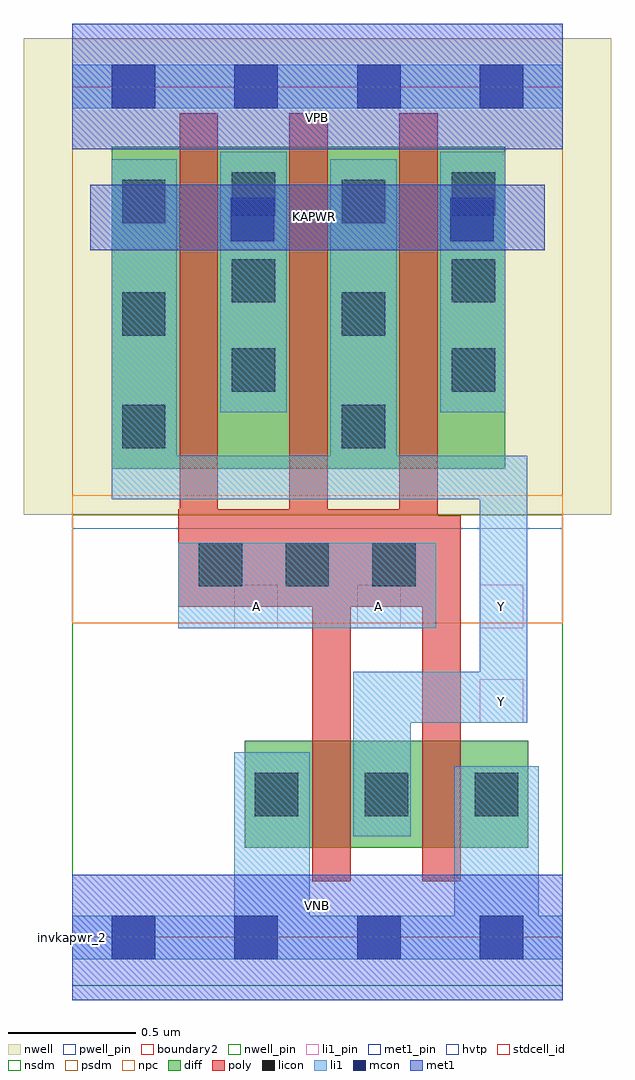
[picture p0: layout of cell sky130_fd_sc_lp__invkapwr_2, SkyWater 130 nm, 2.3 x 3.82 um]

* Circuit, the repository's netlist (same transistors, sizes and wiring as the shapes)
* Copyright 2020 The SkyWater PDK Authors
*
* Licensed under the Apache License, Version 2.0 (the "License");
* you may not use this file except in compliance with the License.
* You may obtain a copy of the License at
*
*     https://www.apache.org/licenses/LICENSE-2.0
*
* Unless required by applicable law or agreed to in writing, software
* distributed under the License is distributed on an "AS IS" BASIS,
* WITHOUT WARRANTIES OR CONDITIONS OF ANY KIND, either express or implied.
* See the License for the specific language governing permissions and
* limitations under the License.
*
* SPDX-License-Identifier: Apache-2.0

.SUBCKT sky130_fd_sc_lp__invkapwr_2 A KAPWR VGND VNB VPB VPWR Y
*.PININFO A:I KAPWR:I VGND:I VNB:I VPB:I VPWR:I Y:O
MMIP0 Y A KAPWR VPB sky130_fd_pr__pfet_01v8_hvt m=3 w=1.26U l=0.15U mult=1 sa=0.265
+ sb=0.265 sd=0.28 area=0.063 perim=1.14
MMIN0 Y A VGND VNB sky130_fd_pr__nfet_01v8 m=2 w=0.42U l=0.15U mult=1 sa=0.265
+ sb=0.265 sd=0.28 area=0.063 perim=1.14
.ENDS sky130_fd_sc_lp__invkapwr_2

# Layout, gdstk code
import gdstk
lib = gdstk.Library(unit=1e-6, precision=1e-09)
def R(c, l, rs):  # rectangles x0, y0, x1, y1
    for r in rs: c.add(gdstk.rectangle(r[:2], r[2:], *l))
def A(c, l, x, y, w, h, nx, ny, dx, dy):  # array of equal rectangles
    R(c, l, [(x+i*dx, y+j*dy, x+i*dx+w, y+j*dy+h) for i in range(nx) for j in range(ny)])
def P(c, l, *ps):  # polygons
    for p in ps: c.add(gdstk.Polygon(p, *l))
nwell_pin = (64, 16)
nwell = (64, 20)
diff = (65, 20)
poly = (66, 20)
licon = (66, 44)
li1_pin = (67, 16)
li1 = (67, 20)
mcon = (67, 44)
met1_pin = (68, 16)
met1 = (68, 20)
hvtp = (78, 44)
stdcell_id = (81, 4)
nsdm = (93, 44)
psdm = (94, 20)
npc = (95, 20)
pwell_pin = (122, 16)
boundary2 = (236, 0)

sky130_fd_sc_lp__invkapw = lib.new_cell('sky130_fd_sc_lp__invkapwr_2')
R(sky130_fd_sc_lp__invkapw, nwell_pin, [(0,3.085,1.92,3.33)])
R(sky130_fd_sc_lp__invkapw, nwell, [(-0.19,1.655,2.11,3.52)])
R(sky130_fd_sc_lp__invkapw, diff, [(0.675,0.35,1.785,0.77), (0.155,1.835,1.695,3.095)])
P(sky130_fd_sc_lp__invkapw, poly, [(1.52,1.65),(1.43,1.65),(1.43,3.225),(1.28,3.225),(1.28,1.675),(1,1.675),(1,3.225),(0.85,3.225),(0.85,1.675),(0.57,1.675),(0.57,3.225),(0.42,3.225),(0.42,1.675),(0.415,1.675),(0.415,1.295),(0.94,1.295),(0.94,0.22),(1.09,0.22),(1.09,1.295),(1.37,1.295),(1.37,0.22),(1.52,0.22)])
A(sky130_fd_sc_lp__invkapw, licon, 0.715, 0.475, 0.17, 0.17, 3, 1, 0.43, 0)
A(sky130_fd_sc_lp__invkapw, licon, 0.495, 1.375, 0.17, 0.17, 3, 1, 0.34, 0)
A(sky130_fd_sc_lp__invkapw, licon, 0.195, 1.915, 0.17, 0.17, 1, 3, 0, 0.44)
A(sky130_fd_sc_lp__invkapw, licon, 1.055, 1.915, 0.17, 0.17, 1, 3, 0, 0.44)
R(sky130_fd_sc_lp__invkapw, licon, [(0.625,2.135,0.795,2.305), (1.485,2.135,1.655,2.305), (0.625,2.485,0.795,2.655), (1.485,2.485,1.655,2.655), (0.625,2.825,0.795,2.995), (1.485,2.825,1.655,2.995)])
A(sky130_fd_sc_lp__invkapw, li1_pin, 0.635, 1.21, 0.17, 0.17, 3, 1, 0.48, 0)
R(sky130_fd_sc_lp__invkapw, li1_pin, [(1.595,0.84,1.765,1.01)])
R(sky130_fd_sc_lp__invkapw, li1, [(0.415,1.21,1.425,1.545), (0.58,2.055,0.84,3.075), (1.44,2.055,1.695,3.075), (0,3.245,1.92,3.415)])
P(sky130_fd_sc_lp__invkapw, li1, [(1.78,1.885),(1.27,1.885),(1.27,3.045),(1.01,3.045),(1.01,1.885),(0.41,1.885),(0.41,3.045),(0.155,3.045),(0.155,1.715),(1.595,1.715),(1.595,1.04),(1.1,1.04),(1.1,0.395),(1.325,0.395),(1.325,0.84),(1.78,0.84)],
  [(1.92,0.085),(1.825,0.085),(1.825,0.67),(1.495,0.67),(1.495,0.085),(0.93,0.085),(0.93,0.725),(0.635,0.725),(0.635,0.085),(0,0.085),(0,-0.085),(1.92,-0.085)])
A(sky130_fd_sc_lp__invkapw, mcon, 0.155, -0.085, 0.17, 0.17, 4, 2, 0.48, 3.33)
R(sky130_fd_sc_lp__invkapw, mcon, [(0.62,2.725,0.79,2.895), (1.48,2.725,1.65,2.895)])
R(sky130_fd_sc_lp__invkapw, met1_pin, [(0,0,1.92,0.245), (0.07,2.69,1.85,2.945), (0,3.085,1.92,3.33)])
R(sky130_fd_sc_lp__invkapw, met1, [(0,-0.245,1.92,0.245), (0.07,2.69,1.85,2.945), (0,3.085,1.92,3.575)])
R(sky130_fd_sc_lp__invkapw, hvtp, [(0,1.6,1.92,3.33)])
R(sky130_fd_sc_lp__invkapw, stdcell_id, [(0,0,1.92,3.33)])
R(sky130_fd_sc_lp__invkapw, nsdm, [(0,-0.19,1.92,1.655)])
R(sky130_fd_sc_lp__invkapw, psdm, [(0,1.655,1.92,3.52)])
R(sky130_fd_sc_lp__invkapw, npc, [(0,1.23,1.92,1.73)])
R(sky130_fd_sc_lp__invkapw, pwell_pin, [(0,0,1.92,0.245)])
R(sky130_fd_sc_lp__invkapw, boundary2, [(0,0,1.92,3.33)])
sky130_fd_sc_lp__invkapw.add(gdstk.Label('VNB', (0.96,0.123), layer=64, texttype=59))
sky130_fd_sc_lp__invkapw.add(gdstk.Label('VPB', (0.96,3.208), layer=64, texttype=5))
sky130_fd_sc_lp__invkapw.add(gdstk.Label('invkapwr_2', (0,0), layer=83, texttype=44))
sky130_fd_sc_lp__invkapw.add(gdstk.Label('VPWR', (0.96,3.208), layer=68, texttype=5))
sky130_fd_sc_lp__invkapw.add(gdstk.Label('VGND', (0.96,0.123), layer=68, texttype=5))
sky130_fd_sc_lp__invkapw.add(gdstk.Label('KAPWR', (0.95,2.82), layer=68, texttype=5))
sky130_fd_sc_lp__invkapw.add(gdstk.Label('A', (0.72,1.295), layer=67, texttype=5))
sky130_fd_sc_lp__invkapw.add(gdstk.Label('A', (1.2,1.295), layer=67, texttype=5))
sky130_fd_sc_lp__invkapw.add(gdstk.Label('Y', (1.68,0.925), layer=67, texttype=5))
sky130_fd_sc_lp__invkapw.add(gdstk.Label('Y', (1.68,1.295), layer=67, texttype=5))

lib.write_gds('sky130_fd_sc_lp__invkapwr_2.gds')
